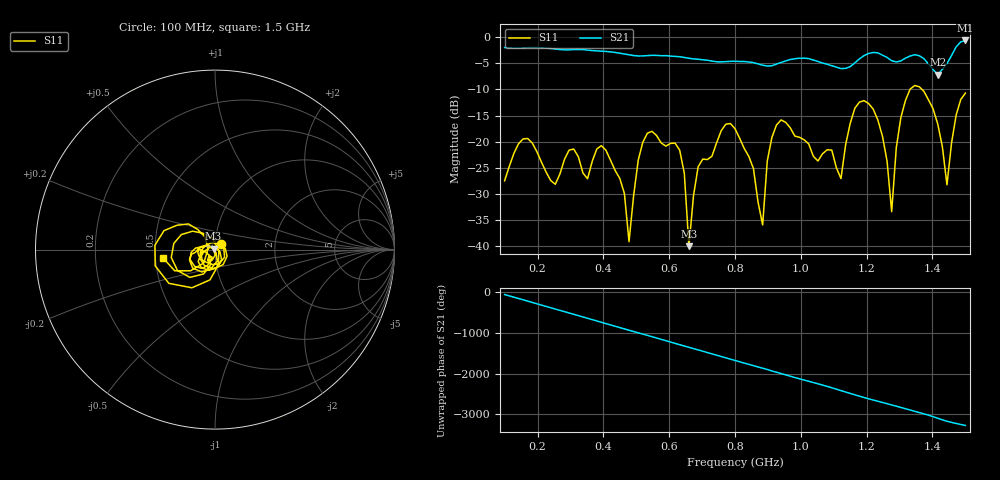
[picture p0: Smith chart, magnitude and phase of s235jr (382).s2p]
! NanoVNA-App
! Date: 2025-09-25 15:07:08
! Start: 100MHz Stop: 1,5GHz Points: 101
! S-Parameter data: F S11 S21 S12 S22
# Hz S RI R 50
!  Frequency  S11_Real  S11_Imag  S21_Real  S21_Imag  S12_Real  S12_Imag  S22_Real  S22_Imag
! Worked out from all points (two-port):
!   101 points, 100 MHz to 1.5 GHz, reference 50 ohm
!   highest |S21| = -0.62 dB at 1.5 GHz (marker M1); lowest = -7.1 dB at 1.416 GHz (marker M2)
!   |S21| within 3 dB of the highest: start of sweep to 605.6 MHz; 1.19 GHz to 1.254 GHz (64.35 MHz wide, 5.27 % of centre) (the widest 2 of 4)
!   lowest |S11| = -40.0 dB at 660 MHz (marker M3), VSWR 1.02, Z = 49.2 + j0.578 ohm
!   |S11| at or under -10 dB: start of sweep to 1.332 GHz; 1.368 GHz to end of sweep
!   S12 and S22 are empty: the file has one direction only
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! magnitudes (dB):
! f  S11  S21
! 100 MHz  -27.5  -2.0
! 156 MHz  -19.5  -2.1
! 338 MHz  -26.0  -2.4
! 408 MHz  -21.7  -2.7
! 478 MHz  -39.1  -3.4
! 520 MHz  -20.1  -3.6
! 576 MHz  -20.2  -3.5
! 632 MHz  -21.6  -3.7
! 660 MHz  -40.0  -4.0
! 688 MHz  -24.8  -4.2
! 800 MHz  -17.5  -4.6
! 884 MHz  -35.9  -5.4
! 926 MHz  -16.8  -5.1
! 1.038 GHz  -22.8  -4.4
! 1.122 GHz  -27.1  -6.0
! 1.206 GHz  -12.7  -3.1
! 1.276 GHz  -33.4  -4.5
! 1.29 GHz  -21.2  -4.7
! 1.332 GHz  -9.9  -3.6
! 1.416 GHz  -16.6  -7.1
! 1.444 GHz  -28.2  -5.0
! 1.5 GHz  -10.7  -0.6
